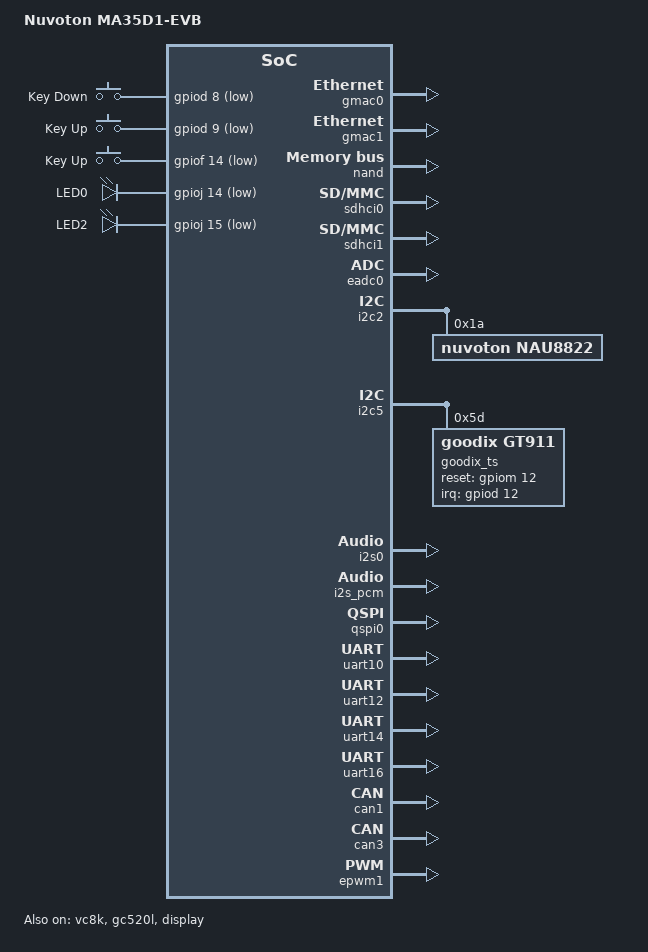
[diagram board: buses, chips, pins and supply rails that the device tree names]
/*
 * Device Tree Source for MA35D1 Evaluation Board (EVB)
 *
 * Copyright (C) 2021 Nuvoton Technology Corp.
 *
 * The code contained herein is licensed under the GNU General Public
 * License. You may obtain a copy of the GNU General Public License
 * Version 2 or later at the following locations:
 *
 * http://www.opensource.org/licenses/gpl-license.html
 * http://www.gnu.org/copyleft/gpl.html
 */

/dts-v1/;

#include "ma35d1.dtsi"

/ {
	model = "Nuvoton MA35D1-EVB";

	chosen {
		bootargs = "root=/dev/mmcblk1p1 rootfstype=ext4 rw rootwait console=ttyS0,115200n8 rdinit=/sbin/init mem=256M";
	};

	gpio_keys_test {
		compatible = "gpio-keys";
		status = "okay";
		autorepeat;
		botton0 {
			label = "Key Down";
			linux,code = <KEY_DOWN>;
			gpios = <&gpiod 8 GPIO_ACTIVE_LOW>;
			wakeup-source;
		};
		button1{
			label ="Key Up";
			linux,code = <KEY_UP>;
			gpios = <&gpiod 9 GPIO_ACTIVE_LOW>;
			wakeup-source;
		};
		button2{
			label ="Key Up";
			linux,code = <KEY_ENTER>;
			gpios = <&gpiof 14 GPIO_ACTIVE_LOW>;
			wakeup-source;
		};
	};

	gpio_leds_test {
		compatible = "gpio-leds";
		status = "okay";
		led0 {
			label = "LED0";
			gpios = <&gpioj 14 GPIO_ACTIVE_LOW>;
		};
		led1 {
			label = "LED2";
			gpios = <&gpioj 15 GPIO_ACTIVE_LOW>;
		};
	};
};

&gmac0 {
	status = "okay";
	pinctrl-names = "default";
	pinctrl-0 = <&pinctrl_gmac0>;
};

&gmac1 {
	status = "okay";
	pinctrl-names = "default";
	pinctrl-0 = <&pinctrl_gmac1>;
};

&ehci0 {
	pinctrl-names = "default";
	pinctrl-0 = <&pinctrl_hsusbh>;
};

&nand {
	status = "okay";
	pinctrl-names = "default";
	pinctrl-0 = <&pinctrl_nand>;
};

&sdhci0 {
	status = "okay";
	pinctrl-names = "default";
	pinctrl-0 = <&pinctrl_sdhci0>;
};

&sdhci1 {
	status = "okay";
	pinctrl-names = "default";
	pinctrl-0 = <&pinctrl_sdhci1>;
};

&adc0 {
	pinctrl-names = "default";
	pinctrl-0 = <&pinctrl_adc0>;
};

&eadc0 {
	status = "okay";
	pinctrl-names = "default";
	pinctrl-0 = <&pinctrl_eadc0>;
};

&i2c2 {
	status = "okay";
	pinctrl-names = "default";
	pinctrl-0 = <&pinctrl_i2c2>;

	nau8822: nau8822@1a {
		compatible = "nuvoton,nau8822";
		reg = <0x1a> ;
	};
};

&i2c5 {
	pinctrl-names = "default";
	pinctrl-0 = <&pinctrl_i2c5>;
	status = "okay";

	goodix_ts@5d {
		compatible = "goodix,gt911";
		status = "okay";
		reg = <0x5d>;
		interrupt-parent = <&gpiod>;
		interrupts = <12 2>;
		reset-gpios = <&gpiom 12 0x00>;
		irq-gpios = <&gpiod 12 0x00>;
		touchscreen-size-x = <1024>;
		touchscreen-size-y = <600>;
		touchscreen-inverted-x = <1>;
		touchscreen-inverted-y = <1>;
	};
};

&i2s0 {
	status = "okay";
	pinctrl-names = "default";
	pinctrl-0 = <&pinctrl_i2s0>;
};

&i2s_pcm {
	status = "okay";
};

&sound {
	status = "okay";
};

&qspi0 {
	status = "okay";
	pinctrl-names = "default";
	pinctrl-0 = <&pinctrl_qspi0>;
};

&vc8k {
	status = "okay";
};

&gc520l {
	status = "okay";
};

&display {
	pinctrl-names = "default";
	pinctrl-0 = <&pinctrl_display0>;
	status = "okay";
};

&uart10 {
	status = "okay";
	pinctrl-names = "default";
	pinctrl-0 = <&pinctrl_uart10>;
};

&uart12 {
	status = "okay";
	pinctrl-names = "default";
	pinctrl-0 = <&pinctrl_uart12>;
};

&uart14 {
	status = "okay";
	pinctrl-names = "default";
	pinctrl-0 = <&pinctrl_uart14>;
};

&uart16 {
	status = "okay";
	pinctrl-names = "default";
	pinctrl-0 = <&pinctrl_uart16>;
};

&can1 {
	status = "okay";
	pinctrl-names = "default";
	pinctrl-0 = <&pinctrl_can1>;
};

&can3 {
	status = "okay";
	pinctrl-names = "default";
	pinctrl-0 = <&pinctrl_can3>;
};

&epwm1 {
	status = "okay";
	pinctrl-names = "default";
	pinctrl-0 = <&pinctrl_epwm1>;
};

&ebi0 {
	pinctrl-names = "default";
	pinctrl-0 = <&pinctrl_ebi0_16bit>;
};

&pinctrl {
	gmac0 {
		pinctrl_gmac0: gmac0grp{
			nuvoton,pins =
				<SYS_GPE_MFPL_PE0MFP_RGMII0_MDC		&pcfg_emac_1_8V>,
				<SYS_GPE_MFPL_PE1MFP_RGMII0_MDIO	&pcfg_emac_1_8V>,
				<SYS_GPE_MFPL_PE2MFP_RGMII0_TXCTL	&pcfg_emac_1_8V>,
				<SYS_GPE_MFPL_PE3MFP_RGMII0_TXD0	&pcfg_emac_1_8V>,
				<SYS_GPE_MFPL_PE4MFP_RGMII0_TXD1	&pcfg_emac_1_8V>,
				<SYS_GPE_MFPL_PE5MFP_RGMII0_RXCLK	&pcfg_emac_1_8V>,
				<SYS_GPE_MFPL_PE6MFP_RGMII0_RXCTL	&pcfg_emac_1_8V>,
				<SYS_GPE_MFPL_PE7MFP_RGMII0_RXD0	&pcfg_emac_1_8V>,
				<SYS_GPE_MFPH_PE8MFP_RGMII0_RXD1	&pcfg_emac_1_8V>,
				<SYS_GPE_MFPH_PE9MFP_RGMII0_RXD2	&pcfg_emac_1_8V>,
				<SYS_GPE_MFPH_PE10MFP_RGMII0_RXD3	&pcfg_emac_1_8V>,
				<SYS_GPE_MFPH_PE11MFP_RGMII0_TXCLK	&pcfg_emac_1_8V>,
				<SYS_GPE_MFPH_PE12MFP_RGMII0_TXD2	&pcfg_emac_1_8V>,
				<SYS_GPE_MFPH_PE13MFP_RGMII0_TXD3	&pcfg_emac_1_8V>;
		};
	};

	gmac1 {
		pinctrl_gmac1: gmac1grp{
			nuvoton,pins =
				<SYS_GPF_MFPL_PF0MFP_RGMII1_MDC		&pcfg_emac_1_8V>,
				<SYS_GPF_MFPL_PF1MFP_RGMII1_MDIO	&pcfg_emac_1_8V>,
				<SYS_GPF_MFPL_PF2MFP_RGMII1_TXCTL	&pcfg_emac_1_8V>,
				<SYS_GPF_MFPL_PF3MFP_RGMII1_TXD0	&pcfg_emac_1_8V>,
				<SYS_GPF_MFPL_PF4MFP_RGMII1_TXD1	&pcfg_emac_1_8V>,
				<SYS_GPF_MFPL_PF5MFP_RGMII1_RXCLK	&pcfg_emac_1_8V>,
				<SYS_GPF_MFPL_PF6MFP_RGMII1_RXCTL	&pcfg_emac_1_8V>,
				<SYS_GPF_MFPL_PF7MFP_RGMII1_RXD0	&pcfg_emac_1_8V>,
				<SYS_GPF_MFPH_PF8MFP_RGMII1_RXD1	&pcfg_emac_1_8V>,
				<SYS_GPF_MFPH_PF9MFP_RGMII1_RXD2	&pcfg_emac_1_8V>,
				<SYS_GPF_MFPH_PF10MFP_RGMII1_RXD3	&pcfg_emac_1_8V>,
				<SYS_GPF_MFPH_PF11MFP_RGMII1_TXCLK	&pcfg_emac_1_8V>,
				<SYS_GPF_MFPH_PF12MFP_RGMII1_TXD2	&pcfg_emac_1_8V>,
				<SYS_GPF_MFPH_PF13MFP_RGMII1_TXD3	&pcfg_emac_1_8V>;
		};
	};

	hsusbh {
		pinctrl_hsusbh: hsusbhgrp{
			nuvoton,pins =
				<SYS_GPL_MFPH_PL12MFP_HSUSBH_PWREN	&pcfg_default>,
				<SYS_GPL_MFPH_PL13MFP_HSUSBH_OVC	&pcfg_default>;
		};
	};

	adc0 {
		pinctrl_adc0: adc0grp {
			nuvoton,pins =
				<SYS_GPB_MFPH_PB8MFP_ADC0_CH0	&pcfg_default>;
		};
	};

	eadc0 {
		pinctrl_eadc0: eadc0grp{
			nuvoton,pins =
				<SYS_GPB_MFPL_PB0MFP_EADC0_CH0	&pcfg_default>,
				<SYS_GPB_MFPL_PB1MFP_EADC0_CH1	&pcfg_default>,
				<SYS_GPB_MFPL_PB2MFP_EADC0_CH2	&pcfg_default>,
				<SYS_GPB_MFPL_PB3MFP_EADC0_CH3	&pcfg_default>,
				<SYS_GPB_MFPL_PB4MFP_EADC0_CH4	&pcfg_default>,
				<SYS_GPB_MFPL_PB5MFP_EADC0_CH5	&pcfg_default>,
				<SYS_GPB_MFPL_PB6MFP_EADC0_CH6	&pcfg_default>,
				<SYS_GPB_MFPL_PB7MFP_EADC0_CH7	&pcfg_default>;
		};
	};

	i2c2 {
		pinctrl_i2c2: i2c2grp{
			nuvoton,pins =
				<SYS_GPB_MFPH_PB8MFP_I2C2_SDA	&pcfg_default>,
				<SYS_GPB_MFPH_PB9MFP_I2C2_SCL	&pcfg_default>;
		};
	};

	i2c5 {
		pinctrl_i2c5: i2c5grp{
			nuvoton,pins =
				<SYS_GPJ_MFPH_PJ12MFP_I2C5_SDA	&pcfg_default>,
				<SYS_GPJ_MFPH_PJ13MFP_I2C5_SCL	&pcfg_default>;
		};
	};

	i2s0 {
		pinctrl_i2s0: i2s0grp{
			nuvoton,pins =
				<SYS_GPN_MFPH_PN15MFP_I2S0_MCLK	&pcfg_default>,
				<SYS_GPK_MFPH_PK12MFP_I2S0_LRCK	&pcfg_default>,
				<SYS_GPK_MFPH_PK13MFP_I2S0_BCLK	&pcfg_default>,
				<SYS_GPK_MFPH_PK14MFP_I2S0_DI	&pcfg_default>,
				<SYS_GPK_MFPH_PK15MFP_I2S0_DO	&pcfg_default>;
		};
	};

	qspi0 {
		pinctrl_qspi0: qspi0grp{
			nuvoton,pins =
				<SYS_GPD_MFPL_PD0MFP_QSPI0_SS0		&pcfg_default>,
				<SYS_GPD_MFPL_PD1MFP_QSPI0_CLK		&pcfg_default>,
				<SYS_GPD_MFPL_PD2MFP_QSPI0_MOSI0	&pcfg_default>,
				<SYS_GPD_MFPL_PD3MFP_QSPI0_MISO0	&pcfg_default>,
				<SYS_GPD_MFPL_PD4MFP_QSPI0_MOSI1	&pcfg_default>,
				<SYS_GPD_MFPL_PD5MFP_QSPI0_MISO1	&pcfg_default>;
		};
	};

	nand {
		pinctrl_nand: nandgrp{
			nuvoton,pins =
				<SYS_GPA_MFPL_PA0MFP_NAND_DATA0	&pcfg_default>,
				<SYS_GPA_MFPL_PA1MFP_NAND_DATA1	&pcfg_default>,
				<SYS_GPA_MFPL_PA2MFP_NAND_DATA2	&pcfg_default>,
				<SYS_GPA_MFPL_PA3MFP_NAND_DATA3	&pcfg_default>,
				<SYS_GPA_MFPL_PA4MFP_NAND_DATA4	&pcfg_default>,
				<SYS_GPA_MFPL_PA5MFP_NAND_DATA5	&pcfg_default>,
				<SYS_GPA_MFPL_PA6MFP_NAND_DATA6	&pcfg_default>,
				<SYS_GPA_MFPL_PA7MFP_NAND_DATA7	&pcfg_default>,
				<SYS_GPA_MFPH_PA8MFP_NAND_RDY	&pcfg_default>,
				<SYS_GPA_MFPH_PA9MFP_NAND_nRE	&pcfg_default>,
				<SYS_GPA_MFPH_PA10MFP_NAND_nWE	&pcfg_default>,
				<SYS_GPA_MFPH_PA11MFP_NAND_CLE	&pcfg_default>,
				<SYS_GPA_MFPH_PA12MFP_NAND_ALE	&pcfg_default>,
				<SYS_GPA_MFPH_PA13MFP_NAND_nCS	&pcfg_default>,
				<SYS_GPA_MFPH_PA14MFP_NAND_nWP	&pcfg_default>;
		};
	};

	sdhci0 {
		pinctrl_sdhci0: sdhci0grp{
			nuvoton,pins =
				<SYS_GPC_MFPL_PC0MFP_eMMC0_CMD	&pcfg_default>,
				<SYS_GPC_MFPL_PC1MFP_eMMC0_CLK	&pcfg_default>,
				<SYS_GPC_MFPL_PC2MFP_eMMC0_DAT0	&pcfg_default>,
				<SYS_GPC_MFPL_PC3MFP_eMMC0_DAT1	&pcfg_default>,
				<SYS_GPC_MFPL_PC4MFP_eMMC0_DAT2	&pcfg_default>,
				<SYS_GPC_MFPL_PC5MFP_eMMC0_DAT3	&pcfg_default>,
				<SYS_GPC_MFPL_PC6MFP_SD0_nCD	&pcfg_default>,
				<SYS_GPC_MFPL_PC7MFP_SD0_WP	&pcfg_default>;
		};
	};

	sdhci1 {
		pinctrl_sdhci1: sdhci1grp{
			nuvoton,pins =
				<SYS_GPJ_MFPL_PJ0MFP_eMMC1_DAT4		&pcfg_default>,
				<SYS_GPJ_MFPL_PJ1MFP_eMMC1_DAT5		&pcfg_default>,
				<SYS_GPJ_MFPL_PJ2MFP_eMMC1_DAT6		&pcfg_default>,
				<SYS_GPJ_MFPL_PJ3MFP_eMMC1_DAT7		&pcfg_default>,
				<SYS_GPJ_MFPL_PJ4MFP_SD1_WP		&pcfg_default>,
				<SYS_GPJ_MFPL_PJ5MFP_SD1_nCD		&pcfg_default>,
				<SYS_GPJ_MFPL_PJ6MFP_eMMC1_CMD		&pcfg_default>,
				<SYS_GPJ_MFPL_PJ7MFP_eMMC1_CLK		&pcfg_default>,
				<SYS_GPJ_MFPH_PJ8MFP_eMMC1_DAT0		&pcfg_default>,
				<SYS_GPJ_MFPH_PJ9MFP_eMMC1_DAT1		&pcfg_default>,
				<SYS_GPJ_MFPH_PJ10MFP_eMMC1_DAT2	&pcfg_default>,
				<SYS_GPJ_MFPH_PJ11MFP_eMMC1_DAT3	&pcfg_default>;
		};
	};

	ccap0 {
		pinctrl_ccap0: ccap0grp{
			nuvoton,pins =
				<SYS_GPK_MFPH_PK9MFP_VCAP0_SCLK		&pcfg_default>,
				<SYS_GPK_MFPH_PK10MFP_VCAP0_PIXCLK	&pcfg_default>,
				<SYS_GPK_MFPH_PK11MFP_VCAP0_HSYNC	&pcfg_default>,
				<SYS_GPM_MFPL_PM0MFP_VCAP0_VSYNC	&pcfg_default>,
				<SYS_GPM_MFPL_PM2MFP_VCAP0_DATA0	&pcfg_default>,
				<SYS_GPM_MFPL_PM3MFP_VCAP0_DATA1	&pcfg_default>,
				<SYS_GPM_MFPL_PM4MFP_VCAP0_DATA2	&pcfg_default>,
				<SYS_GPM_MFPL_PM5MFP_VCAP0_DATA3	&pcfg_default>,
				<SYS_GPM_MFPL_PM6MFP_VCAP0_DATA4	&pcfg_default>,
				<SYS_GPM_MFPL_PM7MFP_VCAP0_DATA5	&pcfg_default>,
				<SYS_GPM_MFPH_PM8MFP_VCAP0_DATA6	&pcfg_default>,
				<SYS_GPM_MFPH_PM9MFP_VCAP0_DATA7	&pcfg_default>;
		};
	};

	ccap1 {
		pinctrl_ccap1: ccap1grp{
			nuvoton,pins =
				<SYS_GPN_MFPL_PN0MFP_VCAP1_DATA0	&pcfg_default>,
				<SYS_GPN_MFPL_PN1MFP_VCAP1_DATA1	&pcfg_default>,
				<SYS_GPN_MFPL_PN2MFP_VCAP1_DATA2	&pcfg_default>,
				<SYS_GPN_MFPL_PN3MFP_VCAP1_DATA3	&pcfg_default>,
				<SYS_GPN_MFPL_PN4MFP_VCAP1_DATA4	&pcfg_default>,
				<SYS_GPN_MFPL_PN5MFP_VCAP1_DATA5	&pcfg_default>,
				<SYS_GPN_MFPL_PN6MFP_VCAP1_DATA6	&pcfg_default>,
				<SYS_GPN_MFPL_PN7MFP_VCAP1_DATA7	&pcfg_default>,
				<SYS_GPN_MFPH_PN10MFP_VCAP1_SCLK	&pcfg_default>,
				<SYS_GPN_MFPH_PN11MFP_VCAP1_PIXCLK	&pcfg_default>,
				<SYS_GPN_MFPH_PN12MFP_VCAP1_HSYNC	&pcfg_default>,
				<SYS_GPN_MFPH_PN13MFP_VCAP1_VSYNC	&pcfg_default>;
		};
	};

	display {
		pinctrl_display0: display0grp{
			nuvoton,pins =
				<SYS_GPG_MFPH_PG8MFP_LCM_VSYNC		&pcfg_default>,
				<SYS_GPG_MFPH_PG9MFP_LCM_HSYNC		&pcfg_default>,
				<SYS_GPG_MFPH_PG10MFP_LCM_CLK		&pcfg_default>,
				<SYS_GPK_MFPL_PK4MFP_LCM_DEN		&pcfg_default>,
				<SYS_GPI_MFPH_PI8MFP_LCM_DATA0		&pcfg_default>,
				<SYS_GPI_MFPH_PI9MFP_LCM_DATA1		&pcfg_default>,
				<SYS_GPI_MFPH_PI10MFP_LCM_DATA2		&pcfg_default>,
				<SYS_GPI_MFPH_PI11MFP_LCM_DATA3		&pcfg_default>,
				<SYS_GPI_MFPH_PI12MFP_LCM_DATA4		&pcfg_default>,
				<SYS_GPI_MFPH_PI13MFP_LCM_DATA5		&pcfg_default>,
				<SYS_GPI_MFPH_PI14MFP_LCM_DATA6		&pcfg_default>,
				<SYS_GPI_MFPH_PI15MFP_LCM_DATA7		&pcfg_default>,
				<SYS_GPH_MFPL_PH0MFP_LCM_DATA8		&pcfg_default>,
				<SYS_GPH_MFPL_PH1MFP_LCM_DATA9		&pcfg_default>,
				<SYS_GPH_MFPL_PH2MFP_LCM_DATA10		&pcfg_default>,
				<SYS_GPH_MFPL_PH3MFP_LCM_DATA11		&pcfg_default>,
				<SYS_GPH_MFPL_PH4MFP_LCM_DATA12		&pcfg_default>,
				<SYS_GPH_MFPL_PH5MFP_LCM_DATA13		&pcfg_default>,
				<SYS_GPH_MFPL_PH6MFP_LCM_DATA14		&pcfg_default>,
				<SYS_GPH_MFPL_PH7MFP_LCM_DATA15		&pcfg_default>,
				<SYS_GPC_MFPH_PC12MFP_LCM_DATA16	&pcfg_default>,
				<SYS_GPC_MFPH_PC13MFP_LCM_DATA17	&pcfg_default>,
				<SYS_GPC_MFPH_PC14MFP_LCM_DATA18	&pcfg_default>,
				<SYS_GPC_MFPH_PC15MFP_LCM_DATA19	&pcfg_default>,
				<SYS_GPH_MFPH_PH12MFP_LCM_DATA20	&pcfg_default>,
				<SYS_GPH_MFPH_PH13MFP_LCM_DATA21	&pcfg_default>,
				<SYS_GPH_MFPH_PH14MFP_LCM_DATA22	&pcfg_default>,
				<SYS_GPH_MFPH_PH15MFP_LCM_DATA23	&pcfg_default>;
		};
	};

	uart10 {
		pinctrl_uart10: uart10grp{
			nuvoton,pins =
				<SYS_GPC_MFPH_PC8MFP_UART10_nCTS	&pcfg_default>,
				<SYS_GPC_MFPH_PC9MFP_UART10_nRTS	&pcfg_default>,
				<SYS_GPC_MFPH_PC10MFP_UART10_RXD	&pcfg_default>,
				<SYS_GPC_MFPH_PC11MFP_UART10_TXD	&pcfg_default>;
		};
	};

	uart12 {
		pinctrl_uart12: uart12grp{
			nuvoton,pins =
				<SYS_GPI_MFPL_PI1MFP_UART12_nRTS	&pcfg_default>,
				<SYS_GPI_MFPL_PI2MFP_UART12_RXD		&pcfg_default>,
				<SYS_GPI_MFPL_PI3MFP_UART12_TXD		&pcfg_default>;
		};
	};

	uart14 {
		pinctrl_uart14: uart14grp{
			nuvoton,pins =
				<SYS_GPI_MFPL_PI5MFP_UART14_nRTS	&pcfg_default>,
				<SYS_GPI_MFPL_PI6MFP_UART14_RXD		&pcfg_default>,
				<SYS_GPI_MFPL_PI7MFP_UART14_TXD		&pcfg_default>;
		};
	};

	uart16 {
		pinctrl_uart16: uart16grp{
			nuvoton,pins =
				<SYS_GPK_MFPL_PK0MFP_UART16_nCTS	&pcfg_default>,
				<SYS_GPK_MFPL_PK1MFP_UART16_nRTS	&pcfg_default>,
				<SYS_GPK_MFPL_PK2MFP_UART16_RXD		&pcfg_default>,
				<SYS_GPK_MFPL_PK3MFP_UART16_TXD		&pcfg_default>;
		};
	};

	can1 {
		pinctrl_can1: can1grp{
			nuvoton,pins =
				<SYS_GPL_MFPH_PL14MFP_CAN1_RXD	&pcfg_default>,
				<SYS_GPL_MFPH_PL15MFP_CAN1_TXD	&pcfg_default>;
		};
	};

	can3 {
		pinctrl_can3: can3grp{
			nuvoton,pins =
				<SYS_GPL_MFPH_PL10MFP_CAN3_RXD	&pcfg_default>,
				<SYS_GPL_MFPH_PL11MFP_CAN3_TXD	&pcfg_default>;
		};
	};

	epwm1 {
		pinctrl_epwm1: epwm1grp{
			nuvoton,pins =
				<SYS_GPM_MFPH_PM13MFP_EPWM1_CH5	&pcfg_default>;
		};
	};

	ebi0 {
		pinctrl_ebi0_16bit: ebi0_16bitgrp{
			nuvoton,pins =
				<SYS_GPG_MFPH_PG11MFP_EBI_AD0		&pcfg_default>,
				<SYS_GPG_MFPH_PG12MFP_EBI_AD1		&pcfg_default>,
				<SYS_GPG_MFPH_PG13MFP_EBI_AD2		&pcfg_default>,
				<SYS_GPG_MFPH_PG14MFP_EBI_AD3		&pcfg_default>,
				<SYS_GPG_MFPH_PG15MFP_EBI_AD4		&pcfg_default>,
				<SYS_GPL_MFPL_PL6MFP_EBI_AD5		&pcfg_default>,
				<SYS_GPL_MFPL_PL7MFP_EBI_AD6		&pcfg_default>,
				<SYS_GPL_MFPH_PL8MFP_EBI_AD7		&pcfg_default>,
				<SYS_GPL_MFPH_PL9MFP_EBI_AD8		&pcfg_default>,
				<SYS_GPD_MFPH_PD10MFP_EBI_AD9		&pcfg_default>,
				<SYS_GPD_MFPH_PD11MFP_EBI_AD10	&pcfg_default>,
				<SYS_GPL_MFPL_PL0MFP_EBI_AD11		&pcfg_default>,
				<SYS_GPL_MFPL_PL1MFP_EBI_AD12		&pcfg_default>,
				<SYS_GPL_MFPL_PL2MFP_EBI_AD13		&pcfg_default>,
				<SYS_GPL_MFPL_PL3MFP_EBI_AD14		&pcfg_default>,
				<SYS_GPG_MFPL_PG0MFP_EBI_AD15		&pcfg_default>,
				<SYS_GPI_MFPL_PI0MFP_EBI_ADR0		&pcfg_default>,
				<SYS_GPI_MFPL_PI1MFP_EBI_ADR1		&pcfg_default>,
				<SYS_GPI_MFPL_PI2MFP_EBI_ADR2		&pcfg_default>,
				<SYS_GPI_MFPL_PI3MFP_EBI_ADR3		&pcfg_default>,
				<SYS_GPI_MFPL_PI4MFP_EBI_ADR4		&pcfg_default>,
				<SYS_GPI_MFPL_PI5MFP_EBI_ADR5		&pcfg_default>,
				<SYS_GPI_MFPL_PI6MFP_EBI_ADR6		&pcfg_default>,
				<SYS_GPI_MFPL_PI7MFP_EBI_ADR7		&pcfg_default>,
				<SYS_GPK_MFPL_PK0MFP_EBI_ADR8		&pcfg_default>,
				<SYS_GPK_MFPL_PK1MFP_EBI_ADR9		&pcfg_default>,
				<SYS_GPK_MFPL_PK2MFP_EBI_ADR10	&pcfg_default>,
				<SYS_GPK_MFPL_PK3MFP_EBI_ADR11	&pcfg_default>,
				<SYS_GPJ_MFPH_PJ12MFP_EBI_ADR12	&pcfg_default>,
				<SYS_GPJ_MFPH_PJ13MFP_EBI_ADR13	&pcfg_default>,
				<SYS_GPJ_MFPH_PJ14MFP_EBI_ADR14	&pcfg_default>,
				<SYS_GPJ_MFPH_PJ15MFP_EBI_ADR15	&pcfg_default>,
				<SYS_GPG_MFPL_PG2MFP_EBI_ADR16	&pcfg_default>,
				<SYS_GPG_MFPL_PG3MFP_EBI_ADR17	&pcfg_default>,
				<SYS_GPG_MFPL_PG4MFP_EBI_ADR18	&pcfg_default>,
				<SYS_GPG_MFPL_PG5MFP_EBI_ADR19	&pcfg_default>,
				<SYS_GPA_MFPH_PA15MFP_EBI_ALE		&pcfg_default>,
				<SYS_GPG_MFPL_PG1MFP_EBI_nCS0		&pcfg_default>,
				<SYS_GPD_MFPH_PD12MFP_EBI_nCS1	&pcfg_default>,
				<SYS_GPD_MFPH_PD13MFP_EBI_nCS2	&pcfg_default>,
				<SYS_GPB_MFPH_PB10MFP_EBI_MCLK	&pcfg_default>,
				<SYS_GPG_MFPL_PG6MFP_EBI_nRD		&pcfg_default>,
				<SYS_GPG_MFPL_PG7MFP_EBI_nWR		&pcfg_default>,
				<SYS_GPL_MFPH_PL11MFP_EBI_nWRL	&pcfg_default>,
				<SYS_GPL_MFPH_PL10MFP_EBI_nWRH	&pcfg_default>;
		};
	};

};
